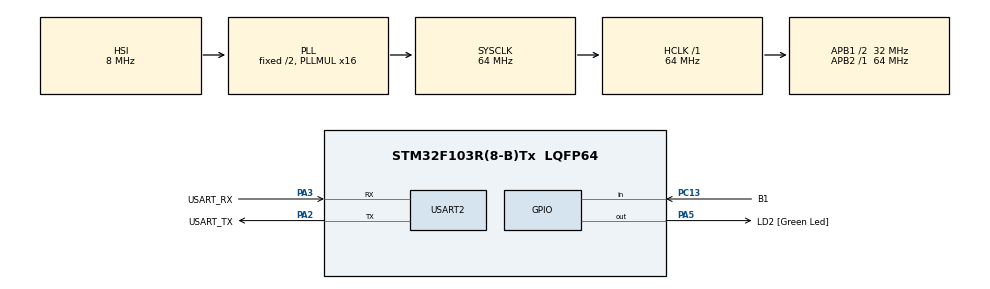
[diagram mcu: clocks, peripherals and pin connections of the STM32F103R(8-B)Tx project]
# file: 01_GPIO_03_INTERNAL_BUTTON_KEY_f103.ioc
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Mcu.Family=STM32F1
Mcu.Name=STM32F103R(8-B)Tx
Mcu.Package=LQFP64
NVIC.PriorityGroup=NVIC_PRIORITYGROUP_4
PA13.GPIO_Label=TMS
PA13.Mode=Serial_Wire
PA13.Signal=SYS_JTMS-SWDIO
PA14.GPIO_Label=TCK
PA14.Mode=Serial_Wire
PA14.Signal=SYS_JTCK-SWCLK
PA2.GPIO_Label=USART_TX
PA2.GPIO_Mode=GPIO_MODE_AF_PP
PA2.GPIO_PuPd=GPIO_NOPULL
PA2.GPIO_Speed=GPIO_SPEED_FREQ_LOW
PA2.Mode=Asynchronous
PA2.Signal=USART2_TX
PA3.GPIO_Label=USART_RX
PA3.GPIO_Mode=GPIO_MODE_AF_PP
PA3.GPIO_PuPd=GPIO_NOPULL
PA3.GPIO_Speed=GPIO_SPEED_FREQ_LOW
PA3.Mode=Asynchronous
PA3.Signal=USART2_RX
PA5.GPIO_Label=LD2 [Green Led]
PA5.GPIO_ModeDefaultOutputPP=GPIO_MODE_OUTPUT_PP
PA5.GPIO_PuPd=GPIO_NOPULL
PA5.GPIO_Speed=GPIO_SPEED_FREQ_LOW
PA5.Signal=GPIO_Output
PB3.GPIO_Label=SWO
PB3.Signal=SYS_JTDO-TRACESWO
PC13-TAMPER-RTC.GPIO_Label=B1
PC13-TAMPER-RTC.Signal=GPIO_Input
PC14-OSC32_IN.Mode=LSE-External-Oscillator
PC14-OSC32_IN.Signal=RCC_OSC32_IN
PC15-OSC32_OUT.Mode=LSE-External-Oscillator
PC15-OSC32_OUT.Signal=RCC_OSC32_OUT
PD0-OSC_IN.Mode=HSE-External-Clock-Source
PD0-OSC_IN.Signal=RCC_OSC_IN
PD1-OSC_OUT.Mode=HSE-External-Clock-Source
PD1-OSC_OUT.Signal=RCC_OSC_OUT
ProjectManager.HeapSize=0x200
ProjectManager.StackSize=0x400
ProjectManager.TargetToolchain=STM32CubeIDE
RCC.AHBFreq_Value=64000000
RCC.APB1CLKDivider=RCC_HCLK_DIV2
RCC.APB1Freq_Value=32000000
RCC.APB1TimFreq_Value=64000000
RCC.APB2Freq_Value=64000000
RCC.APB2TimFreq_Value=64000000
RCC.HCLKFreq_Value=64000000
RCC.PLLMUL=RCC_PLL_MUL16
RCC.RTCClockSelection=RCC_RTCCLKSOURCE_LSE
RCC.SYSCLKFreq_VALUE=64000000
RCC.SYSCLKSource=RCC_SYSCLKSOURCE_PLLCLK
RCC.USBFreq_Value=64000000
USART2.VirtualMode=VM_ASYNC
board=NUCLEO-F103RB

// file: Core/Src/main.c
/* USER CODE BEGIN Header */
/**
  ******************************************************************************
  * @file           : main.c
  * @brief          : Main program body
  ******************************************************************************
  * @attention
  *
  * Copyright (c) 2022 STMicroelectronics.
  * All rights reserved.
  *
  * This software is licensed under terms that can be found in the LICENSE file
  * in the root directory of this software component.
  * If no LICENSE file comes with this software, it is provided AS-IS.
  *
  ******************************************************************************
  */
/* USER CODE END Header */
#include "main.h"

/* USER CODE BEGIN Includes */
#include <stdio.h>

/* USER CODE END Includes */

UART_HandleTypeDef huart2;

void SystemClock_Config(void);
static void MX_GPIO_Init(void);
static void MX_USART2_UART_Init(void);

/* USER CODE BEGIN 0 */
int __io_putchar(int ch)
{
 if ( ch == '\n' )
	 HAL_UART_Transmit(&huart2, (uint8_t*)&"\r", 1, HAL_MAX_DELAY);
 HAL_UART_Transmit(&huart2, (uint8_t*)&ch, 1, HAL_MAX_DELAY);
 return ch;
}

int __io_getchar(void)
{
	uint8_t ch;

	while( HAL_OK != HAL_UART_Receive(&huart2, &ch, 1, HAL_MAX_DELAY) )
	{
		;
	}
	return ch;
}

int f,g,y;//global variables
int sum(int a, int b){
     return (a+b);
}
/* USER CODE END 0 */

int main(void)
{

  /* MCU Configuration--------------------------------------------------------*/

  /* Reset of all peripherals, Initializes the Flash interface and the Systick. */
  HAL_Init();

  /* Configure the system clock */
  SystemClock_Config();

  /* Initialize all configured peripherals */
  MX_GPIO_Init();
  MX_USART2_UART_Init();
  /* USER CODE BEGIN 2 */
  printf("\n\n\nHELLO, STM32\n");

  /* USER CODE END 2 */

  /* Infinite loop */
  /* USER CODE BEGIN WHILE */
  while (1) //while 뤂을 계속 돌면서, 버튼 눌렀는지 확인
  {
	  uint8_t pin_state;
    /* USER CODE END WHILE */

    /* USER CODE BEGIN 3 */
		pin_state = HAL_GPIO_ReadPin(B1_GPIO_Port, B1_Pin);

		if (pin_state) { // 평소에 1
			HAL_GPIO_WritePin(LD2_GPIO_Port, LD2_Pin, GPIO_PIN_RESET);
		} else { // 버튼 누르면 0
			HAL_GPIO_WritePin(LD2_GPIO_Port, LD2_Pin, GPIO_PIN_SET);
		}
  }
  /* USER CODE END 3 */
}

void SystemClock_Config(void)
{
  RCC_OscInitTypeDef RCC_OscInitStruct = {0};
  RCC_ClkInitTypeDef RCC_ClkInitStruct = {0};

  /** Initializes the RCC Oscillators according to the specified parameters
  * in the RCC_OscInitTypeDef structure.
  */
  RCC_OscInitStruct.OscillatorType = RCC_OSCILLATORTYPE_HSI;
  RCC_OscInitStruct.HSIState = RCC_HSI_ON;
  RCC_OscInitStruct.HSICalibrationValue = RCC_HSICALIBRATION_DEFAULT;
  RCC_OscInitStruct.PLL.PLLState = RCC_PLL_ON;
  RCC_OscInitStruct.PLL.PLLSource = RCC_PLLSOURCE_HSI_DIV2;
  RCC_OscInitStruct.PLL.PLLMUL = RCC_PLL_MUL16;
  if (HAL_RCC_OscConfig(&RCC_OscInitStruct) != HAL_OK)
  {
    Error_Handler();
  }

  /** Initializes the CPU, AHB and APB buses clocks
  */
  RCC_ClkInitStruct.ClockType = RCC_CLOCKTYPE_HCLK|RCC_CLOCKTYPE_SYSCLK
                              |RCC_CLOCKTYPE_PCLK1|RCC_CLOCKTYPE_PCLK2;
  RCC_ClkInitStruct.SYSCLKSource = RCC_SYSCLKSOURCE_PLLCLK;
  RCC_ClkInitStruct.AHBCLKDivider = RCC_SYSCLK_DIV1;
  RCC_ClkInitStruct.APB1CLKDivider = RCC_HCLK_DIV2;
  RCC_ClkInitStruct.APB2CLKDivider = RCC_HCLK_DIV1;

  if (HAL_RCC_ClockConfig(&RCC_ClkInitStruct, FLASH_LATENCY_2) != HAL_OK)
  {
    Error_Handler();
  }
}

static void MX_USART2_UART_Init(void)
{

  huart2.Instance = USART2;
  huart2.Init.BaudRate = 115200;
  huart2.Init.WordLength = UART_WORDLENGTH_8B;
  huart2.Init.StopBits = UART_STOPBITS_1;
  huart2.Init.Parity = UART_PARITY_NONE;
  huart2.Init.Mode = UART_MODE_TX_RX;
  huart2.Init.HwFlowCtl = UART_HWCONTROL_NONE;
  huart2.Init.OverSampling = UART_OVERSAMPLING_16;
  if (HAL_UART_Init(&huart2) != HAL_OK)
  {
    Error_Handler();
  }

}

static void MX_GPIO_Init(void)
{
  GPIO_InitTypeDef GPIO_InitStruct = {0};

  /* GPIO Ports Clock Enable */
  __HAL_RCC_GPIOC_CLK_ENABLE();
  __HAL_RCC_GPIOD_CLK_ENABLE();
  __HAL_RCC_GPIOA_CLK_ENABLE();
  __HAL_RCC_GPIOB_CLK_ENABLE();

  /*Configure GPIO pin Output Level */
  HAL_GPIO_WritePin(LD2_GPIO_Port, LD2_Pin, GPIO_PIN_RESET);

  /*Configure GPIO pin : B1_Pin */
  GPIO_InitStruct.Pin = B1_Pin;
  GPIO_InitStruct.Mode = GPIO_MODE_INPUT;
  GPIO_InitStruct.Pull = GPIO_NOPULL;
  HAL_GPIO_Init(B1_GPIO_Port, &GPIO_InitStruct);

  /*Configure GPIO pin : LD2_Pin */
  GPIO_InitStruct.Pin = LD2_Pin;
  GPIO_InitStruct.Mode = GPIO_MODE_OUTPUT_PP;
  GPIO_InitStruct.Pull = GPIO_NOPULL;
  GPIO_InitStruct.Speed = GPIO_SPEED_FREQ_LOW;
  HAL_GPIO_Init(LD2_GPIO_Port, &GPIO_InitStruct);

}

void Error_Handler(void)
{
  __disable_irq();
  while (1)
  {
  }
}
